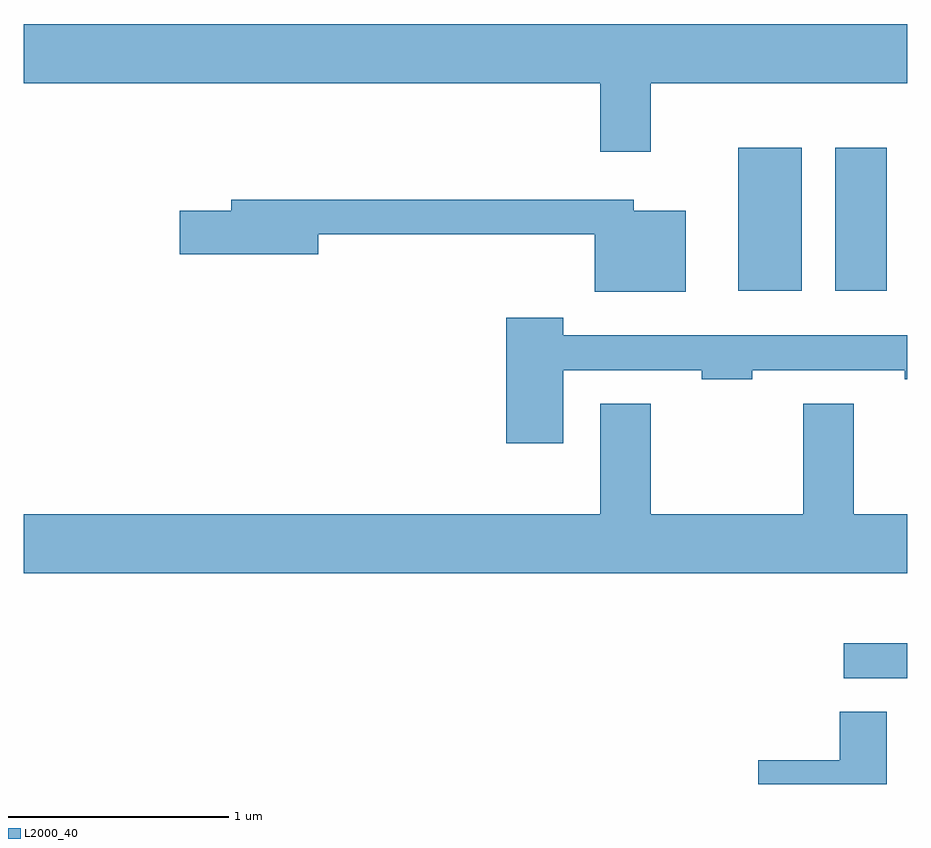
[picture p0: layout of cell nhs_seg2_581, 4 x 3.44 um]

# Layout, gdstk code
import gdstk
lib = gdstk.Library(unit=1e-6, precision=1e-09)
def R(c, l, rs):  # rectangles x0, y0, x1, y1
    for r in rs: c.add(gdstk.rectangle(r[:2], r[2:], *l))
def P(c, l, *ps):  # polygons
    for p in ps: c.add(gdstk.Polygon(p, *l))
L2000_40 = (2000, 40)

nhs_seg2_581 = lib.new_cell('nhs_seg2_581')
R(nhs_seg2_581, L2000_40, [(205.323,1052.281,205.611,1052.439), (204.846,1054.036,205.134,1054.684), (205.286,1054.036,205.519,1054.684)])
P(nhs_seg2_581, L2000_40, [(204.449,1054.976),(205.611,1054.976),(205.611,1055.244),(201.611,1055.244),(201.611,1054.976),(204.221,1054.976),(204.221,1054.666),(204.449,1054.666)],
  [(204.609,1054.399),(204.374,1054.399),(204.374,1054.449),(202.551,1054.449),(202.551,1054.399),(202.316,1054.399),(202.316,1054.201),(202.944,1054.201),(202.944,1054.291),(204.196,1054.291),(204.196,1054.031),(204.609,1054.031)],
  [(204.054,1053.676),(204.681,1053.676),(204.681,1053.636),(204.909,1053.636),(204.909,1053.676),(205.601,1053.676),(205.601,1053.636),(205.611,1053.636),(205.611,1053.834),(204.054,1053.834),(204.054,1053.914),(203.796,1053.914),(203.796,1053.346),(204.054,1053.346)],
  [(205.611,1053.024),(205.369,1053.024),(205.369,1053.524),(205.141,1053.524),(205.141,1053.024),(204.449,1053.024),(204.449,1053.524),(204.221,1053.524),(204.221,1053.024),(201.611,1053.024),(201.611,1052.756),(205.611,1052.756)],
  [(205.519,1052.129),(205.306,1052.129),(205.306,1051.909),(204.936,1051.909),(204.936,1051.802),(205.519,1051.802)])

lib.write_gds('nhs_seg2_581.gds')
